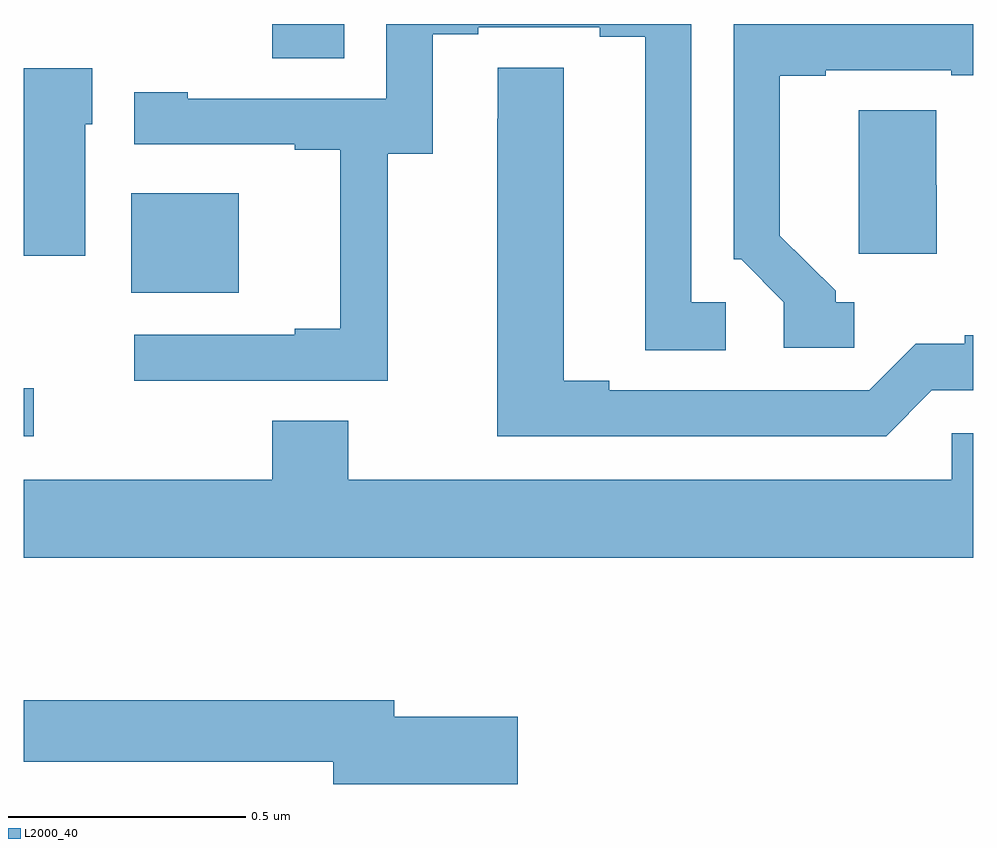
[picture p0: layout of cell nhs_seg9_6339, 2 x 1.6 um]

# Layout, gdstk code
import gdstk
lib = gdstk.Library(unit=1e-6, precision=1e-09)
def R(c, l, rs):  # rectangles x0, y0, x1, y1
    for r in rs: c.add(gdstk.rectangle(r[:2], r[2:], *l))
def P(c, l, *ps):  # polygons
    for p in ps: c.add(gdstk.Polygon(p, *l))
L2000_40 = (2000, 40)

nhs_seg9_6339 = lib.new_cell('nhs_seg9_6339')
R(nhs_seg9_6339, L2000_40, [(190,1240.632,190.021,1240.733), (190.226,1240.934,190.453,1241.143), (190.523,1241.428,190.675,1241.5)])
P(nhs_seg9_6339, L2000_40, [(191.749,1240.914),(191.71,1240.914),(191.71,1240.938),(191.593,1241.054),(191.593,1241.391),(191.689,1241.391),(191.689,1241.403),(191.954,1241.403),(191.954,1241.392),(192,1241.392),(192,1241.499),(191.759,1241.499),(191.759,1241.5),(191.496,1241.5),(191.496,1241.004),(191.511,1241.004),(191.601,1240.914),(191.601,1240.818),(191.749,1240.818)],
  [(190.767,1241.227),(190.861,1241.227),(190.861,1241.478),(190.957,1241.478),(190.957,1241.493),(191.213,1241.493),(191.213,1241.473),(191.309,1241.473),(191.309,1240.813),(191.479,1240.813),(191.479,1240.914),(191.406,1240.914),(191.406,1241.5),(190.764,1241.5),(190.764,1241.343),(190.345,1241.343),(190.345,1241.356),(190.233,1241.356),(190.233,1241.247),(190.571,1241.247),(190.571,1241.235),(190.667,1241.235),(190.667,1240.858),(190.571,1240.858),(190.571,1240.845),(190.233,1240.845),(190.233,1240.749),(190.767,1240.749)],
  [(191.913,1240.728),(192,1240.728),(192,1240.844),(191.982,1240.844),(191.982,1240.826),(191.879,1240.826),(191.781,1240.728),(191.233,1240.728),(191.233,1240.748),(191.137,1240.748),(191.137,1241.408),(190.998,1241.408),(190.998,1241.3),(190.997,1241.3),(190.997,1240.632),(191.817,1240.632)],
  [(190.129,1241.289),(190.144,1241.289),(190.144,1241.407),(190,1241.407),(190,1241.012),(190.129,1241.012)],
  [(191.923,1241.16),(191.922,1241.16),(191.922,1241.318),(191.759,1241.318),(191.759,1241.016),(191.923,1241.016)],
  [(192,1240.638),(191.955,1240.638),(191.955,1240.54),(190.683,1240.54),(190.683,1240.664),(190.523,1240.664),(190.523,1240.54),(190,1240.54),(190,1240.376),(192,1240.376)],
  [(191.041,1240.041),(190.78,1240.041),(190.78,1240.075),(190,1240.075),(190,1239.946),(190.652,1239.946),(190.652,1239.899),(191.041,1239.899)])

lib.write_gds('nhs_seg9_6339.gds')
